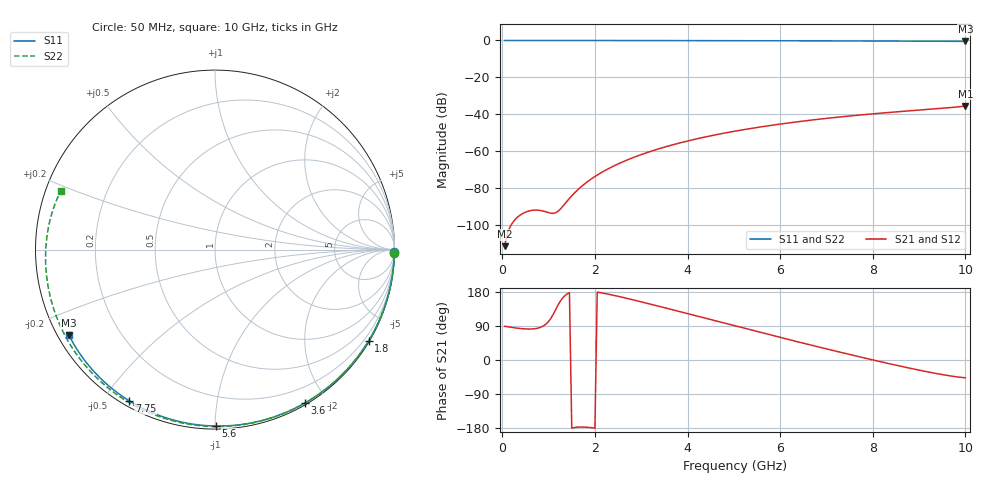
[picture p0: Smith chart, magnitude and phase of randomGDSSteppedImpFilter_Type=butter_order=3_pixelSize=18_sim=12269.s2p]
! freq	dB(S11)	phase(S11)	dB(S12)	phase(S12)
!  dB(S21)	phase(S21)	dB(S22)	phase(S22)
!S-par simulation data
#  GHz  S  DB  R 50
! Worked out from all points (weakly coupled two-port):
!   200 points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, 50 MHz to 10 GHz, reference 50 ohm
!   highest |S21| = -35.52 dB at 10 GHz (marker M1); lowest = -111.3 dB at 50 MHz (marker M2)
!   lowest |S11| = -0.5 dB at 10 GHz (marker M3), VSWR 34.25, Z = 1.57 - j13.5 ohm
!   |S11| at or under -10 dB: nowhere
!   |S22| runs from -0.7 to 0.0 dB; largest |S21 - S12| = 0
!   S11 on the Smith chart (normalised r, x): 50 MHz: open; 1.8 GHz: 0.03, -3.65; 3.6 GHz: 0.02, -1.74; 5.6 GHz: 0.02, -1.01; 7.75 GHz: 0.02, -0.58; 10 GHz: 0.03, -0.27
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0.05  -0.00 -0.9  -111.34 89.0  -111.34 89.0  -0.00 -1.1
0.45  -0.01 -7.8  -93.53 82.4  -93.53 82.4  -0.01 -10.3
0.85  -0.02 -14.6  -92.15 87.5  -92.15 87.5  -0.02 -19.3
1.65  -0.04 -28.1  -80.34 -176.9  -80.34 -176.9  -0.05 -37.1
1.75  -0.04 -29.8  -78.19 -176.8  -78.19 -176.8  -0.05 -39.3
1.8  -0.04 -30.6  -77.19 -177.1  -77.19 -177.1  -0.05 -40.4
2.1  -0.05 -35.6  -72.08 178.1  -72.08 178.1  -0.06 -46.9
2.5  -0.05 -42.1  -66.84 168.1  -66.84 168.1  -0.07 -55.4
2.9  -0.06 -48.6  -62.68 156.5  -62.68 156.5  -0.08 -63.8
3.4  -0.07 -56.6  -58.48 141.2  -58.48 141.2  -0.10 -74.0
3.6  -0.08 -59.7  -57.03 134.9  -57.03 134.9  -0.10 -78.0
4.3  -0.10 -70.5  -52.68 112.8  -52.68 112.8  -0.13 -91.8
5.05  -0.13 -81.7  -48.98 89.1  -48.98 89.1  -0.16 -106.0
5.6  -0.15 -89.7  -46.72 71.9  -46.72 71.9  -0.19 -116.2
6.7  -0.20 -105.2  -43.03 38.3  -43.03 38.3  -0.26 -136.1
7.25  -0.24 -112.7  -41.52 21.9  -41.52 21.9  -0.31 -146.0
7.75  -0.28 -119.5  -40.29 7.4  -40.29 7.4  -0.35 -155.1
8.35  -0.33 -127.6  -38.97 -9.5  -38.97 -9.5  -0.42 -166.3
8.8  -0.37 -133.6  -38.07 -21.6  -38.07 -21.6  -0.47 -174.9
9.25  -0.42 -139.6  -37.21 -32.9  -37.21 -32.9  -0.54 176.1
9.65  -0.46 -145.0  -36.40 -41.6  -36.40 -41.6  -0.62 167.4
10  -0.51 -149.7  -35.52 -47.1  -35.52 -47.1  -0.74 159.0
